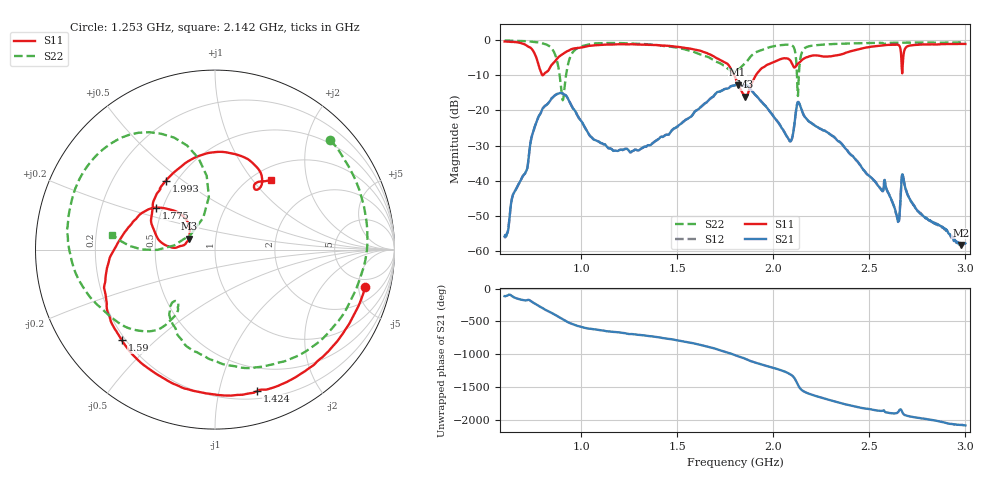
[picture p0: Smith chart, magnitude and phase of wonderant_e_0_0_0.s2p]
#  HZ  S  RI  R  50.00
! Rohde & Schwarz ZVB8 2Ports - Version 2.81 - 1145.1010k08 SN: 100113
! Date: 2016-05-17 22:37:03
! Measurements: S11 S21 S12 S22
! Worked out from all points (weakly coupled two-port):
!   1000 points, 600 MHz to 3 GHz, reference 50 ohm
!   highest |S21| = -12.78 dB at 1.813 GHz (marker M1); lowest = -58.2 dB at 2.976 GHz (marker M2)
!   lowest |S11| = -16.1 dB at 1.854 GHz (marker M3), VSWR 1.37, Z = 37.2 + j4.61 ohm
!   |S11| at or under -10 dB: 795.8 MHz to 801.4 MHz (5.589 MHz wide, 0.7 % of centre); 1.796 GHz to 1.91 GHz (114 MHz wide, 6.15 % of centre)
!   |S22| runs from -17.2 to -0.2 dB; largest |S21 - S12| = 0.002
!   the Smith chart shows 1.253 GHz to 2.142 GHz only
!   S11 on the Smith chart (normalised r, x): 1.253 GHz: 3.73, -5.94; 1.424 GHz: 0.27, -1.31; 1.59 GHz: 0.19, -0.39; 1.775 GHz: 0.46, +0.26; 1.993 GHz: 0.44, +0.43; 2.142 GHz: 1.21, +1.23
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6e8  -0.8094 0.4865  -0.000673 -0.00149  -0.000712 -0.00149  -0.9458 0.2362
7.081081e8  -0.2351 0.8145  -0.013 -0.000213  -0.013 -0.000255  -0.7091 0.6408
8.018018e8  -0.0377 0.3146  0.0611 0.0899  0.0609 0.0903  -0.2286 0.8493
8.714715e8  -0.1998 0.492  0.1005 -0.1361  0.1005 -0.1358  0.3555 0.381
9.123123e8  -0.1152 0.6402  -0.0875 -0.1406  -0.0869 -0.1408  -0.1335 -0.1674
1.001201e9  0.2739 0.7258  -0.0488 0.0489  -0.049 0.0487  -0.4983 0.6368
1.253453e9  0.8361 -0.2061  0.0225 0.0117  0.0225 0.0117  0.6429 0.6107
1.4e9  0.3602 -0.7551  0.0362 -0.0138  0.0363 -0.0138  0.8291 -0.0947
1.424024e9  0.2362 -0.7862  0.0348 -0.0233  0.0352 -0.0234  0.7888 -0.2141
1.58979e9  -0.5186 -0.5058  -0.0436 -0.0842  -0.0435 -0.0844  0.1208 -0.6523
1.774775e9  -0.329 0.2337  -0.0101 0.2148  -0.0109 0.2148  -0.2279 -0.2882
1.801201e9  -0.2059 0.2074  0.097 0.2051  0.0964 0.2052  -0.2054 -0.2985
1.813213e9  -0.1692 0.1774  0.1432 0.1795  0.1419 0.1806  -0.205 -0.315
1.854054e9  -0.144 0.0605  0.2239 0.0359  0.2239 0.0375  -0.2487 -0.3946
1.993393e9  -0.2742 0.3833  -0.0494 -0.0717  -0.049 -0.0721  -0.7943 -0.0781
2.103904e9  0.2453 0.339  -0.00496 0.0489  -0.00508 0.0487  -0.4728 0.6415
2.142342e9  0.3096 0.3853  -0.00636 -0.1094  -0.00576 -0.1094  -0.5721 0.0837
2.2e9  0.5695 0.1638  -0.0651 -0.000993  -0.0651 -0.00119  -0.5838 0.5781
2.44024e9  0.1426 -0.7121  0.0182 -0.00273  0.0183 -0.00264  0.3319 0.826
2.601201e9  -0.5707 -0.6221  -0.000576 -0.00651  -0.000531 -0.00649  0.7806 0.4482
2.975976e9  -0.7023 0.5133  0.000206 0.00122  0.000256 0.00125  0.5974 -0.6907
3e9  -0.6563 0.5706  0.000391 0.00124  0.000433 0.00123  0.5442 -0.7345
